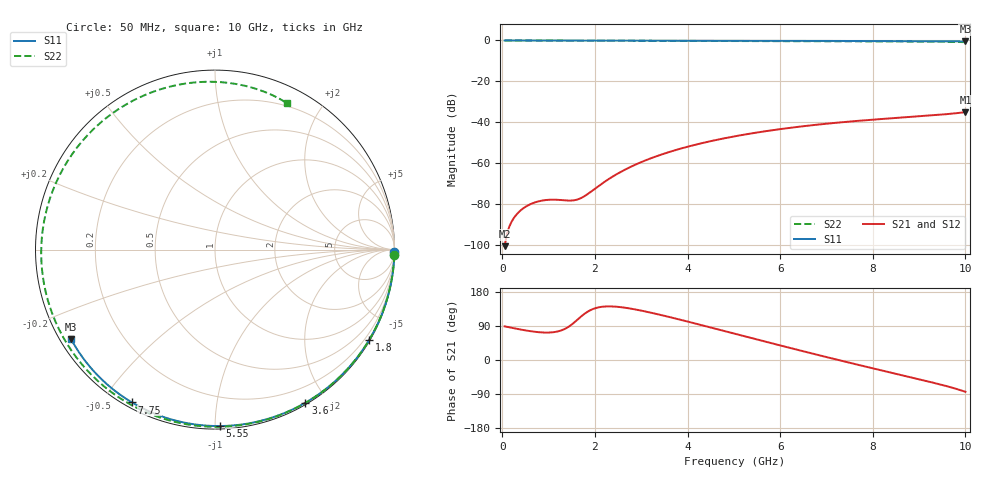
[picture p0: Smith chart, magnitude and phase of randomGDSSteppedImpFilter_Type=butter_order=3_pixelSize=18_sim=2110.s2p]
! freq	dB(S11)	phase(S11)	dB(S12)	phase(S12)
!  dB(S21)	phase(S21)	dB(S22)	phase(S22)
!S-par simulation data
#  GHz  S  DB  R 50
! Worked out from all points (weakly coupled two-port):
!   200 points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, 50 MHz to 10 GHz, reference 50 ohm
!   highest |S21| = -35.10 dB at 10 GHz (marker M1); lowest = -100.7 dB at 50 MHz (marker M2)
!   lowest |S11| = -0.5 dB at 10 GHz (marker M3), VSWR 34.99, Z = 1.55 - j14.3 ohm
!   |S11| at or under -10 dB: nowhere
!   |S22| runs from -0.8 to 0.0 dB; largest |S21 - S12| = 0
!   S11 on the Smith chart (normalised r, x): 50 MHz: open; 1.8 GHz: 0.03, -3.67; 3.6 GHz: 0.02, -1.75; 5.55 GHz: 0.02, -1.03; 7.75 GHz: 0.02, -0.59; 10 GHz: 0.03, -0.29
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0.05  -0.00 -0.9  -100.70 88.8  -100.70 88.8  -0.00 -1.7
0.6  -0.01 -10.3  -80.22 76.2  -80.22 76.2  -0.03 -20.5
0.85  -0.02 -14.5  -78.42 72.8  -78.42 72.8  -0.04 -29.0
1.5  -0.03 -25.5  -78.35 93.7  -78.35 93.7  -0.06 -50.4
1.75  -0.04 -29.7  -76.54 119.6  -76.54 119.6  -0.07 -58.4
1.8  -0.04 -30.5  -75.85 124.1  -75.85 124.1  -0.07 -60.0
2.55  -0.06 -42.8  -64.45 139.6  -64.45 139.6  -0.10 -83.0
2.95  -0.06 -49.2  -60.04 131.6  -60.04 131.6  -0.12 -94.7
3.4  -0.07 -56.3  -56.12 119.5  -56.12 119.5  -0.13 -107.5
3.6  -0.08 -59.4  -54.63 113.7  -54.63 113.7  -0.14 -113.0
4.35  -0.10 -70.9  -50.06 90.5  -50.06 90.5  -0.17 -133.2
5.05  -0.12 -81.2  -46.79 68.4  -46.79 68.4  -0.21 -151.5
5.55  -0.14 -88.4  -44.89 52.6  -44.89 52.6  -0.24 -164.5
6.15  -0.17 -96.8  -42.96 33.8  -42.96 33.8  -0.28 179.9
6.7  -0.20 -104.4  -41.47 16.8  -41.47 16.8  -0.32 165.4
7.2  -0.23 -111.2  -40.31 1.7  -40.31 1.7  -0.36 151.8
7.75  -0.27 -118.5  -39.22 -14.7  -39.22 -14.7  -0.41 136.3
8.35  -0.32 -126.4  -38.20 -32.2  -38.20 -32.2  -0.47 118.6
8.8  -0.36 -132.3  -37.48 -45.1  -37.48 -45.1  -0.52 104.7
9.25  -0.41 -138.2  -36.74 -58.3  -36.74 -58.3  -0.59 90.1
9.65  -0.46 -143.4  -35.96 -70.8  -35.96 -70.8  -0.68 76.5
10  -0.50 -148.0  -35.10 -83.9  -35.10 -83.9  -0.83 63.9
